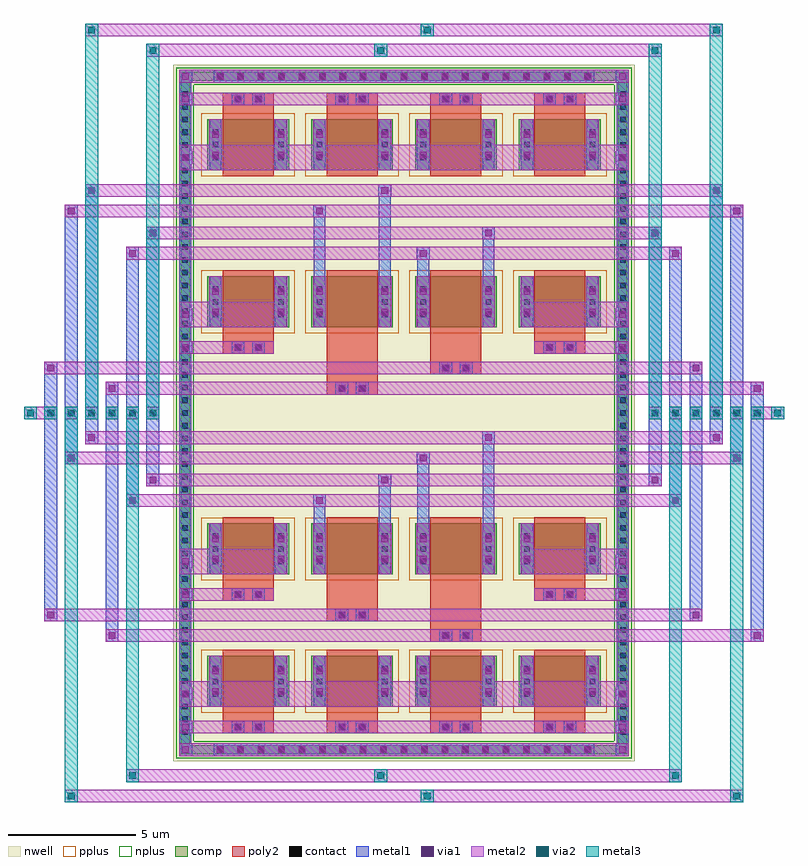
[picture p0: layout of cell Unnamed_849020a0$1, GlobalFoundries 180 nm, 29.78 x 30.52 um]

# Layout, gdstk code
import gdstk
lib = gdstk.Library(unit=1e-6, precision=5e-09)
def R(c, l, rs):  # rectangles x0, y0, x1, y1
    for r in rs: c.add(gdstk.rectangle(r[:2], r[2:], *l))
def A(c, l, x, y, w, h, nx, ny, dx, dy):  # array of equal rectangles
    R(c, l, [(x+i*dx, y+j*dy, x+i*dx+w, y+j*dy+h) for i in range(nx) for j in range(ny)])
def P(c, l, *ps):  # polygons
    for p in ps: c.add(gdstk.Polygon(p, *l))
nwell = (21, 0)
comp = (22, 0)
poly2 = (30, 0)
pplus = (31, 0)
nplus = (32, 0)
contact = (33, 0)
metal1 = (34, 0)
via1 = (35, 0)
metal2 = (36, 0)
via2 = (38, 0)
metal3 = (42, 0)

unnamed_849020a0_1 = lib.new_cell('Unnamed_849020a0$1')
R(unnamed_849020a0_1, nwell, [(-9.035,-13.655,9.035,13.655)])
A(unnamed_849020a0_1, comp, -7.38, -13.375, 0.36, 0.36, 19, 2, 0.8, 26.39)
A(unnamed_849020a0_1, comp, -8.755, -12.68, 0.36, 0.36, 1, 51, 0, 0.5)
A(unnamed_849020a0_1, comp, 8.395, -12.68, 0.36, 0.36, 1, 51, 0, 0.5)
A(unnamed_849020a0_1, comp, -7.705, -11.515, 3.2, 2, 4, 2, 4.07, 5.19)
A(unnamed_849020a0_1, comp, -7.705, 3.355, 3.2, 2, 4, 2, 4.07, 6.16)
R(unnamed_849020a0_1, comp, [(-7.38,-13.375,7.38,-13.015), (-8.755,-12.68,-8.395,12.68), (8.395,-12.68,8.755,12.68), (-7.38,13.015,7.38,13.375)])
P(unnamed_849020a0_1, comp, [(8.755,13.375),(-8.755,13.375),(-8.755,-13.015),(-8.395,-13.015),(-8.395,13.015),(8.395,13.015),(8.395,-13.015),(-8.395,-13.015),(-8.755,-13.015),(-8.755,-13.375),(8.755,-13.375)])
A(unnamed_849020a0_1, poly2, -7.105, -12.555, 2, 0.5, 4, 2, 4.07, 24.61)
A(unnamed_849020a0_1, poly2, -7.105, -12.055, 2, 0.3, 4, 2, 4.07, 23.81)
A(unnamed_849020a0_1, poly2, -7.105, -11.755, 2, 2.48, 4, 2, 4.07, 5.19)
A(unnamed_849020a0_1, poly2, -7.105, 3.115, 2, 2.48, 4, 2, 4.07, 6.16)
R(unnamed_849020a0_1, poly2, [(-6.685,-12.485,-6.325,-12.125), (-5.885,-12.485,-5.525,-12.125), (-2.615,-12.485,-2.255,-12.125), (-1.815,-12.485,-1.455,-12.125), (1.455,-12.485,1.815,-12.125), (2.255,-12.485,2.615,-12.125), (5.525,-12.485,5.885,-12.125), (6.325,-12.485,6.685,-12.125), (1.035,-8.965,3.035,-8.465), (1.455,-8.895,1.815,-8.535), (2.255,-8.895,2.615,-8.535), (1.035,-8.465,3.035,-6.565), (-3.035,-8.165,-1.035,-7.665), (-2.615,-8.095,-2.255,-7.735), (-1.815,-8.095,-1.455,-7.735), (-3.035,-7.665,-1.035,-6.565), (-7.105,-7.365,-5.105,-6.865), (5.105,-7.365,7.105,-6.865), (-6.685,-7.295,-6.325,-6.935), (-5.885,-7.295,-5.525,-6.935), (5.525,-7.295,5.885,-6.935), (6.325,-7.295,6.685,-6.935), (-7.105,-6.865,-5.105,-6.565), (5.105,-6.865,7.105,-6.565), (-3.035,0.715,-1.035,1.215), (-2.615,0.785,-2.255,1.145), (-1.815,0.785,-1.455,1.145), (-3.035,1.215,-1.035,3.115), (1.035,1.515,3.035,2.015), (1.455,1.585,1.815,1.945), (2.255,1.585,2.615,1.945), (1.035,2.015,3.035,3.115), (-7.105,2.315,-5.105,2.815), (5.105,2.315,7.105,2.815), (-6.685,2.385,-6.325,2.745), (-5.885,2.385,-5.525,2.745), (5.525,2.385,5.885,2.745), (6.325,2.385,6.685,2.745), (-7.105,2.815,-5.105,3.115), (5.105,2.815,7.105,3.115), (-6.685,12.125,-6.325,12.485), (-5.885,12.125,-5.525,12.485), (-2.615,12.125,-2.255,12.485), (-1.815,12.125,-1.455,12.485), (1.455,12.125,1.815,12.485), (2.255,12.125,2.615,12.485), (5.525,12.125,5.885,12.485), (6.325,12.125,6.685,12.485)])
A(unnamed_849020a0_1, pplus, -7.935, -11.745, 3.66, 2.46, 4, 2, 4.07, 5.19)
A(unnamed_849020a0_1, pplus, -7.935, 3.125, 3.66, 2.46, 4, 2, 4.07, 6.16)
P(unnamed_849020a0_1, nplus, [(8.915,13.535),(-8.915,13.535),(-8.915,-12.855),(-8.235,-12.855),(-8.235,12.855),(8.235,12.855),(8.235,-12.855),(-8.235,-12.855),(-8.915,-12.855),(-8.915,-13.535),(8.915,-13.535)])
A(unnamed_849020a0_1, contact, -7.31, -13.305, 0.22, 0.22, 19, 2, 0.8, 26.39)
A(unnamed_849020a0_1, contact, -8.685, -12.61, 0.22, 0.22, 1, 51, 0, 0.5)
A(unnamed_849020a0_1, contact, 8.465, -12.61, 0.22, 0.22, 1, 51, 0, 0.5)
A(unnamed_849020a0_1, contact, -7.495, -11.125, 0.22, 0.22, 1, 3, 0, 0.5)
A(unnamed_849020a0_1, contact, -4.935, -11.125, 0.22, 0.22, 1, 3, 0, 0.5)
A(unnamed_849020a0_1, contact, -3.425, -11.125, 0.22, 0.22, 1, 3, 0, 0.5)
A(unnamed_849020a0_1, contact, -0.865, -11.125, 0.22, 0.22, 1, 3, 0, 0.5)
A(unnamed_849020a0_1, contact, 0.645, -11.125, 0.22, 0.22, 1, 3, 0, 0.5)
A(unnamed_849020a0_1, contact, 3.205, -11.125, 0.22, 0.22, 1, 3, 0, 0.5)
A(unnamed_849020a0_1, contact, 4.715, -11.125, 0.22, 0.22, 1, 3, 0, 0.5)
A(unnamed_849020a0_1, contact, 7.275, -11.125, 0.22, 0.22, 1, 3, 0, 0.5)
A(unnamed_849020a0_1, contact, -7.495, -5.935, 0.22, 0.22, 1, 3, 0, 0.5)
A(unnamed_849020a0_1, contact, -4.935, -5.935, 0.22, 0.22, 1, 3, 0, 0.5)
A(unnamed_849020a0_1, contact, -3.425, -5.935, 0.22, 0.22, 1, 3, 0, 0.5)
A(unnamed_849020a0_1, contact, -0.865, -5.935, 0.22, 0.22, 1, 3, 0, 0.5)
A(unnamed_849020a0_1, contact, 0.645, -5.935, 0.22, 0.22, 1, 3, 0, 0.5)
A(unnamed_849020a0_1, contact, 3.205, -5.935, 0.22, 0.22, 1, 3, 0, 0.5)
A(unnamed_849020a0_1, contact, 4.715, -5.935, 0.22, 0.22, 1, 3, 0, 0.5)
A(unnamed_849020a0_1, contact, 7.275, -5.935, 0.22, 0.22, 1, 3, 0, 0.5)
A(unnamed_849020a0_1, contact, -7.495, 3.745, 0.22, 0.22, 1, 3, 0, 0.5)
A(unnamed_849020a0_1, contact, -4.935, 3.745, 0.22, 0.22, 1, 3, 0, 0.5)
A(unnamed_849020a0_1, contact, -3.425, 3.745, 0.22, 0.22, 1, 3, 0, 0.5)
A(unnamed_849020a0_1, contact, -0.865, 3.745, 0.22, 0.22, 1, 3, 0, 0.5)
A(unnamed_849020a0_1, contact, 0.645, 3.745, 0.22, 0.22, 1, 3, 0, 0.5)
A(unnamed_849020a0_1, contact, 3.205, 3.745, 0.22, 0.22, 1, 3, 0, 0.5)
A(unnamed_849020a0_1, contact, 4.715, 3.745, 0.22, 0.22, 1, 3, 0, 0.5)
A(unnamed_849020a0_1, contact, 7.275, 3.745, 0.22, 0.22, 1, 3, 0, 0.5)
A(unnamed_849020a0_1, contact, -7.495, 9.905, 0.22, 0.22, 1, 3, 0, 0.5)
A(unnamed_849020a0_1, contact, -4.935, 9.905, 0.22, 0.22, 1, 3, 0, 0.5)
A(unnamed_849020a0_1, contact, -3.425, 9.905, 0.22, 0.22, 1, 3, 0, 0.5)
A(unnamed_849020a0_1, contact, -0.865, 9.905, 0.22, 0.22, 1, 3, 0, 0.5)
A(unnamed_849020a0_1, contact, 0.645, 9.905, 0.22, 0.22, 1, 3, 0, 0.5)
A(unnamed_849020a0_1, contact, 3.205, 9.905, 0.22, 0.22, 1, 3, 0, 0.5)
A(unnamed_849020a0_1, contact, 4.715, 9.905, 0.22, 0.22, 1, 3, 0, 0.5)
A(unnamed_849020a0_1, contact, 7.275, 9.905, 0.22, 0.22, 1, 3, 0, 0.5)
R(unnamed_849020a0_1, contact, [(-6.615,-12.415,-6.395,-12.195), (-5.815,-12.415,-5.595,-12.195), (-2.545,-12.415,-2.325,-12.195), (-1.745,-12.415,-1.525,-12.195), (1.525,-12.415,1.745,-12.195), (2.325,-12.415,2.545,-12.195), (5.595,-12.415,5.815,-12.195), (6.395,-12.415,6.615,-12.195), (1.525,-8.825,1.745,-8.605), (2.325,-8.825,2.545,-8.605), (-2.545,-8.025,-2.325,-7.805), (-1.745,-8.025,-1.525,-7.805), (-6.615,-7.225,-6.395,-7.005), (-5.815,-7.225,-5.595,-7.005), (5.595,-7.225,5.815,-7.005), (6.395,-7.225,6.615,-7.005), (-2.545,0.855,-2.325,1.075), (-1.745,0.855,-1.525,1.075), (1.525,1.655,1.745,1.875), (2.325,1.655,2.545,1.875), (-6.615,2.455,-6.395,2.675), (-5.815,2.455,-5.595,2.675), (5.595,2.455,5.815,2.675), (6.395,2.455,6.615,2.675), (-6.615,12.195,-6.395,12.415), (-5.815,12.195,-5.595,12.415), (-2.545,12.195,-2.325,12.415), (-1.745,12.195,-1.525,12.415), (1.525,12.195,1.745,12.415), (2.325,12.195,2.545,12.415), (5.595,12.195,5.815,12.415), (6.395,12.195,6.615,12.415)])
A(unnamed_849020a0_1, metal1, -7.45, -13.445, 0.5, 0.5, 19, 2, 0.8, 26.39)
A(unnamed_849020a0_1, metal1, -8.805, -12.73, 0.46, 0.46, 1, 51, 0, 0.5)
A(unnamed_849020a0_1, metal1, 8.345, -12.73, 0.46, 0.46, 1, 51, 0, 0.5)
A(unnamed_849020a0_1, metal1, -7.615, -11.245, 0.46, 0.46, 1, 3, 0, 0.5)
A(unnamed_849020a0_1, metal1, -5.055, -11.245, 0.46, 0.46, 1, 3, 0, 0.5)
A(unnamed_849020a0_1, metal1, -3.545, -11.245, 0.46, 0.46, 1, 3, 0, 0.5)
A(unnamed_849020a0_1, metal1, -0.985, -11.245, 0.46, 0.46, 1, 3, 0, 0.5)
A(unnamed_849020a0_1, metal1, 0.525, -11.245, 0.46, 0.46, 1, 3, 0, 0.5)
A(unnamed_849020a0_1, metal1, 3.085, -11.245, 0.46, 0.46, 1, 3, 0, 0.5)
A(unnamed_849020a0_1, metal1, 4.595, -11.245, 0.46, 0.46, 1, 3, 0, 0.5)
A(unnamed_849020a0_1, metal1, 7.155, -11.245, 0.46, 0.46, 1, 3, 0, 0.5)
A(unnamed_849020a0_1, metal1, -7.615, -6.055, 0.46, 0.46, 1, 3, 0, 0.5)
A(unnamed_849020a0_1, metal1, -5.055, -6.055, 0.46, 0.46, 1, 3, 0, 0.5)
A(unnamed_849020a0_1, metal1, -3.545, -6.055, 0.46, 0.46, 1, 3, 0, 0.5)
A(unnamed_849020a0_1, metal1, -0.985, -6.055, 0.46, 0.46, 1, 3, 0, 0.5)
A(unnamed_849020a0_1, metal1, 0.525, -6.055, 0.46, 0.46, 1, 3, 0, 0.5)
A(unnamed_849020a0_1, metal1, 3.085, -6.055, 0.46, 0.46, 1, 3, 0, 0.5)
A(unnamed_849020a0_1, metal1, 4.595, -6.055, 0.46, 0.46, 1, 3, 0, 0.5)
A(unnamed_849020a0_1, metal1, 7.155, -6.055, 0.46, 0.46, 1, 3, 0, 0.5)
A(unnamed_849020a0_1, metal1, -14.09, -0.25, 0.5, 0.5, 6, 1, 0.8, 0)
A(unnamed_849020a0_1, metal1, 9.59, -0.25, 0.5, 0.5, 6, 1, 0.8, 0)
A(unnamed_849020a0_1, metal1, -7.615, 3.625, 0.46, 0.46, 1, 3, 0, 0.5)
A(unnamed_849020a0_1, metal1, -5.055, 3.625, 0.46, 0.46, 1, 3, 0, 0.5)
A(unnamed_849020a0_1, metal1, -3.545, 3.625, 0.46, 0.46, 1, 3, 0, 0.5)
A(unnamed_849020a0_1, metal1, -0.985, 3.625, 0.46, 0.46, 1, 3, 0, 0.5)
A(unnamed_849020a0_1, metal1, 0.525, 3.625, 0.46, 0.46, 1, 3, 0, 0.5)
A(unnamed_849020a0_1, metal1, 3.085, 3.625, 0.46, 0.46, 1, 3, 0, 0.5)
A(unnamed_849020a0_1, metal1, 4.595, 3.625, 0.46, 0.46, 1, 3, 0, 0.5)
A(unnamed_849020a0_1, metal1, 7.155, 3.625, 0.46, 0.46, 1, 3, 0, 0.5)
A(unnamed_849020a0_1, metal1, -7.615, 9.785, 0.46, 0.46, 1, 3, 0, 0.5)
A(unnamed_849020a0_1, metal1, -5.055, 9.785, 0.46, 0.46, 1, 3, 0, 0.5)
A(unnamed_849020a0_1, metal1, -3.545, 9.785, 0.46, 0.46, 1, 3, 0, 0.5)
A(unnamed_849020a0_1, metal1, -0.985, 9.785, 0.46, 0.46, 1, 3, 0, 0.5)
A(unnamed_849020a0_1, metal1, 0.525, 9.785, 0.46, 0.46, 1, 3, 0, 0.5)
A(unnamed_849020a0_1, metal1, 3.085, 9.785, 0.46, 0.46, 1, 3, 0, 0.5)
A(unnamed_849020a0_1, metal1, 4.595, 9.785, 0.46, 0.46, 1, 3, 0, 0.5)
A(unnamed_849020a0_1, metal1, 7.155, 9.785, 0.46, 0.46, 1, 3, 0, 0.5)
R(unnamed_849020a0_1, metal1, [(-8.805,-13.445,-8.305,-12.945), (-8.805,-13.445,-8.305,-12.945), (-8.805,-13.445,-8.345,-13.015), (-7.45,-13.445,7.45,-12.945), (8.305,-13.445,8.805,-12.945), (8.305,-13.445,8.805,-12.945), (8.345,-13.445,8.805,-13.015), (-8.805,-13.015,-8.345,13.015), (8.345,-13.015,8.805,13.015), (-8.805,-12.555,-8.305,-12.055), (-6.755,-12.555,-6.255,-12.055), (-5.955,-12.555,-5.455,-12.055), (-2.685,-12.555,-2.185,-12.055), (-1.885,-12.555,-1.385,-12.055), (1.385,-12.555,1.885,-12.055), (2.185,-12.555,2.685,-12.055), (5.455,-12.555,5.955,-12.055), (6.255,-12.555,6.755,-12.055), (8.305,-12.555,8.805,-12.055), (-7.615,-11.515,-7.155,-9.515), (-5.055,-11.515,-4.595,-9.515), (-3.545,-11.515,-3.085,-9.515), (-0.985,-11.515,-0.525,-9.515), (0.525,-11.515,0.985,-9.515), (3.085,-11.515,3.545,-9.515), (4.595,-11.515,5.055,-9.515), (7.155,-11.515,7.615,-9.515), (-8.805,-11.265,-8.305,-10.765), (8.305,-11.265,8.805,-10.765), (-7.635,-11.165,-7.135,-10.665), (-7.635,-11.165,-7.135,-9.865), (-5.075,-11.165,-4.575,-10.665), (-5.075,-11.165,-4.575,-9.865), (-3.565,-11.165,-3.065,-10.665), (-3.565,-11.165,-3.065,-9.865), (-1.005,-11.165,-0.505,-10.665), (-1.005,-11.165,-0.505,-9.865), (0.505,-11.165,1.005,-10.665), (0.505,-11.165,1.005,-9.865), (3.065,-11.165,3.565,-10.665), (3.065,-11.165,3.565,-9.865), (4.575,-11.165,5.075,-10.665), (4.575,-11.165,5.075,-9.865), (7.135,-11.165,7.635,-10.665), (7.135,-11.165,7.635,-9.865), (-7.635,-10.365,-7.135,-9.865), (-5.075,-10.365,-4.575,-9.865), (-3.565,-10.365,-3.065,-9.865), (-1.005,-10.365,-0.505,-9.865), (0.505,-10.365,1.005,-9.865), (3.065,-10.365,3.565,-9.865), (4.575,-10.365,5.075,-9.865), (7.135,-10.365,7.635,-9.865), (-11.69,-8.965,-11.19,-8.465), (-11.69,-8.965,-11.19,-8.465), (-11.69,-8.965,-11.19,0.25), (1.385,-8.965,1.885,-8.465), (2.185,-8.965,2.685,-8.465), (13.59,-8.965,14.09,-8.465), (13.59,-8.965,14.09,-8.465), (13.59,-8.965,14.09,0.25), (-14.09,-8.165,-13.59,-7.665), (-14.09,-8.165,-13.59,-7.665), (-14.09,-8.165,-13.59,0.25), (-2.685,-8.165,-2.185,-7.665), (-1.885,-8.165,-1.385,-7.665), (11.19,-8.165,11.69,-7.665), (11.19,-8.165,11.69,-7.665), (11.19,-8.165,11.69,0.25), (-8.805,-7.365,-8.305,-6.865), (-6.755,-7.365,-6.255,-6.865), (-5.955,-7.365,-5.455,-6.865), (5.455,-7.365,5.955,-6.865), (6.255,-7.365,6.755,-6.865), (8.305,-7.365,8.805,-6.865), (-7.615,-6.325,-7.155,-4.325), (-5.055,-6.325,-4.595,-4.325), (-3.545,-6.325,-3.085,-4.325), (-0.985,-6.325,-0.525,-4.325), (0.525,-6.325,0.985,-4.325), (3.085,-6.325,3.545,-4.325), (4.595,-6.325,5.055,-4.325), (7.155,-6.325,7.615,-4.325), (-8.805,-6.075,-8.305,-5.575), (8.305,-6.075,8.805,-5.575), (-7.635,-5.975,-7.135,-5.475), (-7.635,-5.975,-7.135,-4.675), (-5.075,-5.975,-4.575,-5.475), (-5.075,-5.975,-4.575,-4.675), (-3.565,-5.975,-3.065,-5.475), (-3.565,-5.975,-3.065,-4.675), (-1.005,-5.975,-0.505,-5.475), (-1.005,-5.975,-0.505,-4.675), (0.505,-5.975,1.005,-5.475), (0.505,-5.975,1.005,-4.675), (3.065,-5.975,3.565,-5.475), (3.065,-5.975,3.565,-4.675), (4.575,-5.975,5.075,-5.475), (4.575,-5.975,5.075,-4.675), (7.135,-5.975,7.635,-5.475), (7.135,-5.975,7.635,-4.675), (-7.635,-5.175,-7.135,-4.675), (-5.075,-5.175,-4.575,-4.675), (-3.565,-5.175,-3.065,-4.675), (-1.005,-5.175,-0.505,-4.675), (0.505,-5.175,1.005,-4.675), (3.065,-5.175,3.565,-4.675), (4.575,-5.175,5.075,-4.675), (7.135,-5.175,7.635,-4.675), (-3.545,-4.325,-3.085,-3.175), (-0.985,-4.325,-0.525,-2.375), (0.525,-4.325,0.985,-1.515), (3.085,-4.325,3.545,-0.715), (-10.89,-3.675,-10.39,-3.175), (-10.89,-3.675,-10.39,-3.175), (-10.89,-3.675,-10.39,0.25), (-3.565,-3.675,-3.065,-3.175), (10.39,-3.675,10.89,-3.175), (10.39,-3.675,10.89,-3.175), (10.39,-3.675,10.89,0.25), (-10.09,-2.875,-9.59,-2.375), (-10.09,-2.875,-9.59,-2.375), (-10.09,-2.875,-9.59,0.25), (-1.005,-2.875,-0.505,-2.375), (9.59,-2.875,10.09,-2.375), (9.59,-2.875,10.09,-2.375), (9.59,-2.875,10.09,0.25), (-13.29,-2.015,-12.79,-1.515), (-13.29,-2.015,-12.79,-1.515), (-13.29,-2.015,-12.79,0.25), (0.505,-2.015,1.005,-1.515), (12.79,-2.015,13.29,-1.515), (12.79,-2.015,13.29,-1.515), (12.79,-2.015,13.29,0.25), (-12.49,-1.215,-11.99,-0.715), (-12.49,-1.215,-11.99,-0.715), (-12.49,-1.215,-11.99,0.25), (3.065,-1.215,3.565,-0.715), (11.99,-1.215,12.49,-0.715), (11.99,-1.215,12.49,-0.715), (11.99,-1.215,12.49,0.25), (-14.09,0.25,-13.59,2.015), (-13.29,0.25,-12.79,8.165), (-12.49,0.25,-11.99,8.965), (-11.69,0.25,-11.19,1.215), (-10.89,0.25,-10.39,6.505), (-10.09,0.25,-9.59,7.305), (9.59,0.25,10.09,7.305), (10.39,0.25,10.89,6.505), (11.19,0.25,11.69,2.015), (11.99,0.25,12.49,8.965), (12.79,0.25,13.29,8.165), (13.59,0.25,14.09,1.215), (-11.69,0.715,-11.19,1.215), (-11.69,0.715,-11.19,1.215), (-2.685,0.715,-2.185,1.215), (-1.885,0.715,-1.385,1.215), (13.59,0.715,14.09,1.215), (13.59,0.715,14.09,1.215), (-14.09,1.515,-13.59,2.015), (-14.09,1.515,-13.59,2.015), (1.385,1.515,1.885,2.015), (2.185,1.515,2.685,2.015), (11.19,1.515,11.69,2.015), (11.19,1.515,11.69,2.015), (-8.805,2.315,-8.305,2.815), (-6.755,2.315,-6.255,2.815), (-5.955,2.315,-5.455,2.815), (5.455,2.315,5.955,2.815), (6.255,2.315,6.755,2.815), (8.305,2.315,8.805,2.815), (-7.615,3.355,-7.155,5.355), (-5.055,3.355,-4.595,5.355), (-3.545,3.355,-3.085,5.355), (-0.985,3.355,-0.525,5.355), (0.525,3.355,0.985,5.355), (3.085,3.355,3.545,5.355), (4.595,3.355,5.055,5.355), (7.155,3.355,7.615,5.355), (-8.805,3.605,-8.305,4.105), (8.305,3.605,8.805,4.105), (-7.635,3.705,-7.135,4.205), (-7.635,3.705,-7.135,5.005), (-5.075,3.705,-4.575,4.205), (-5.075,3.705,-4.575,5.005), (-3.565,3.705,-3.065,4.205), (-3.565,3.705,-3.065,5.005), (-1.005,3.705,-0.505,4.205), (-1.005,3.705,-0.505,5.005), (0.505,3.705,1.005,4.205), (0.505,3.705,1.005,5.005), (3.065,3.705,3.565,4.205), (3.065,3.705,3.565,5.005), (4.575,3.705,5.075,4.205), (4.575,3.705,5.075,5.005), (7.135,3.705,7.635,4.205), (7.135,3.705,7.635,5.005), (-7.635,4.505,-7.135,5.005), (-5.075,4.505,-4.575,5.005), (-3.565,4.505,-3.065,5.005), (-1.005,4.505,-0.505,5.005), (0.505,4.505,1.005,5.005), (3.065,4.505,3.565,5.005), (4.575,4.505,5.075,5.005), (7.135,4.505,7.635,5.005), (-3.545,5.355,-3.085,8.165), (-0.985,5.355,-0.525,8.965), (0.525,5.355,0.985,6.505), (3.085,5.355,3.545,7.305), (-10.89,6.005,-10.39,6.505), (-10.89,6.005,-10.39,6.505), (0.505,6.005,1.005,6.505), (10.39,6.005,10.89,6.505), (10.39,6.005,10.89,6.505), (-10.09,6.805,-9.59,7.305), (-10.09,6.805,-9.59,7.305), (3.065,6.805,3.565,7.305), (9.59,6.805,10.09,7.305), (9.59,6.805,10.09,7.305), (-13.29,7.665,-12.79,8.165), (-13.29,7.665,-12.79,8.165), (-3.565,7.665,-3.065,8.165), (12.79,7.665,13.29,8.165), (12.79,7.665,13.29,8.165), (-12.49,8.465,-11.99,8.965), (-12.49,8.465,-11.99,8.965), (-1.005,8.465,-0.505,8.965), (11.99,8.465,12.49,8.965), (11.99,8.465,12.49,8.965), (-7.615,9.515,-7.155,11.515), (-5.055,9.515,-4.595,11.515), (-3.545,9.515,-3.085,11.515), (-0.985,9.515,-0.525,11.515), (0.525,9.515,0.985,11.515), (3.085,9.515,3.545,11.515), (4.595,9.515,5.055,11.515), (7.155,9.515,7.615,11.515), (-8.805,9.765,-8.305,10.265), (8.305,9.765,8.805,10.265), (-7.635,9.865,-7.135,10.365), (-7.635,9.865,-7.135,11.165), (-5.075,9.865,-4.575,10.365), (-5.075,9.865,-4.575,11.165), (-3.565,9.865,-3.065,10.365), (-3.565,9.865,-3.065,11.165), (-1.005,9.865,-0.505,10.365), (-1.005,9.865,-0.505,11.165), (0.505,9.865,1.005,10.365), (0.505,9.865,1.005,11.165), (3.065,9.865,3.565,10.365), (3.065,9.865,3.565,11.165), (4.575,9.865,5.075,10.365), (4.575,9.865,5.075,11.165), (7.135,9.865,7.635,10.365), (7.135,9.865,7.635,11.165), (-7.635,10.665,-7.135,11.165), (-5.075,10.665,-4.575,11.165), (-3.565,10.665,-3.065,11.165), (-1.005,10.665,-0.505,11.165), (0.505,10.665,1.005,11.165), (3.065,10.665,3.565,11.165), (4.575,10.665,5.075,11.165), (7.135,10.665,7.635,11.165), (-8.805,12.055,-8.305,12.555), (-6.755,12.055,-6.255,12.555), (-5.955,12.055,-5.455,12.555), (-2.685,12.055,-2.185,12.555), (-1.885,12.055,-1.385,12.555), (1.385,12.055,1.885,12.555), (2.185,12.055,2.685,12.555), (5.455,12.055,5.955,12.555), (6.255,12.055,6.755,12.555), (8.305,12.055,8.805,12.555), (-8.805,12.945,-8.305,13.445), (-8.805,12.945,-8.305,13.445), (-7.45,12.945,7.45,13.445), (8.305,12.945,8.805,13.445), (8.305,12.945,8.805,13.445), (-8.805,13.015,-8.345,13.445), (8.345,13.015,8.805,13.445)])
A(unnamed_849020a0_1, via1, -7.33, -13.325, 0.26, 0.26, 19, 2, 0.8, 26.39)
A(unnamed_849020a0_1, via1, -13.97, -0.13, 0.26, 0.26, 6, 1, 0.8, 0)
A(unnamed_849020a0_1, via1, 9.71, -0.13, 0.26, 0.26, 6, 1, 0.8, 0)
R(unnamed_849020a0_1, via1, [(-8.685,-13.325,-8.425,-13.065), (8.425,-13.325,8.685,-13.065), (-8.685,-12.435,-8.425,-12.175), (-6.635,-12.435,-6.375,-12.175), (-5.835,-12.435,-5.575,-12.175), (-2.565,-12.435,-2.305,-12.175), (-1.765,-12.435,-1.505,-12.175), (1.505,-12.435,1.765,-12.175), (2.305,-12.435,2.565,-12.175), (5.575,-12.435,5.835,-12.175), (6.375,-12.435,6.635,-12.175), (8.425,-12.435,8.685,-12.175), (-8.685,-11.145,-8.425,-10.885), (8.425,-11.145,8.685,-10.885), (-7.515,-11.045,-7.255,-10.785), (-4.955,-11.045,-4.695,-10.785), (-3.445,-11.045,-3.185,-10.785), (-0.885,-11.045,-0.625,-10.785), (0.625,-11.045,0.885,-10.785), (3.185,-11.045,3.445,-10.785), (4.695,-11.045,4.955,-10.785), (7.255,-11.045,7.515,-10.785), (-7.515,-10.245,-7.255,-9.985), (-4.955,-10.245,-4.695,-9.985), (-3.445,-10.245,-3.185,-9.985), (-0.885,-10.245,-0.625,-9.985), (0.625,-10.245,0.885,-9.985), (3.185,-10.245,3.445,-9.985), (4.695,-10.245,4.955,-9.985), (7.255,-10.245,7.515,-9.985), (-11.57,-8.845,-11.31,-8.585), (1.505,-8.845,1.765,-8.585), (2.305,-8.845,2.565,-8.585), (13.71,-8.845,13.97,-8.585), (-13.97,-8.045,-13.71,-7.785), (-2.565,-8.045,-2.305,-7.785), (-1.765,-8.045,-1.505,-7.785), (11.31,-8.045,11.57,-7.785), (-8.685,-7.245,-8.425,-6.985), (-6.635,-7.245,-6.375,-6.985), (-5.835,-7.245,-5.575,-6.985), (5.575,-7.245,5.835,-6.985), (6.375,-7.245,6.635,-6.985), (8.425,-7.245,8.685,-6.985), (-8.685,-5.955,-8.425,-5.695), (8.425,-5.955,8.685,-5.695), (-7.515,-5.855,-7.255,-5.595), (-4.955,-5.855,-4.695,-5.595), (-3.445,-5.855,-3.185,-5.595), (-0.885,-5.855,-0.625,-5.595), (0.625,-5.855,0.885,-5.595), (3.185,-5.855,3.445,-5.595), (4.695,-5.855,4.955,-5.595), (7.255,-5.855,7.515,-5.595), (-7.515,-5.055,-7.255,-4.795), (-4.955,-5.055,-4.695,-4.795), (-3.445,-5.055,-3.185,-4.795), (-0.885,-5.055,-0.625,-4.795), (0.625,-5.055,0.885,-4.795), (3.185,-5.055,3.445,-4.795), (4.695,-5.055,4.955,-4.795), (7.255,-5.055,7.515,-4.795), (-10.77,-3.555,-10.51,-3.295), (-3.445,-3.555,-3.185,-3.295), (10.51,-3.555,10.77,-3.295), (-9.97,-2.755,-9.71,-2.495), (-0.885,-2.755,-0.625,-2.495), (9.71,-2.755,9.97,-2.495), (-13.17,-1.895,-12.91,-1.635), (0.625,-1.895,0.885,-1.635), (12.91,-1.895,13.17,-1.635), (-12.37,-1.095,-12.11,-0.835), (3.185,-1.095,3.445,-0.835), (12.11,-1.095,12.37,-0.835), (-11.57,0.835,-11.31,1.095), (-2.565,0.835,-2.305,1.095), (-1.765,0.835,-1.505,1.095), (13.71,0.835,13.97,1.095), (-13.97,1.635,-13.71,1.895), (1.505,1.635,1.765,1.895), (2.305,1.635,2.565,1.895), (11.31,1.635,11.57,1.895), (-8.685,2.435,-8.425,2.695), (-6.635,2.435,-6.375,2.695), (-5.835,2.435,-5.575,2.695), (5.575,2.435,5.835,2.695), (6.375,2.435,6.635,2.695), (8.425,2.435,8.685,2.695), (-8.685,3.725,-8.425,3.985), (8.425,3.725,8.685,3.985), (-7.515,3.825,-7.255,4.085), (-4.955,3.825,-4.695,4.085), (-3.445,3.825,-3.185,4.085), (-0.885,3.825,-0.625,4.085), (0.625,3.825,0.885,4.085), (3.185,3.825,3.445,4.085), (4.695,3.825,4.955,4.085), (7.255,3.825,7.515,4.085), (-7.515,4.625,-7.255,4.885), (-4.955,4.625,-4.695,4.885), (-3.445,4.625,-3.185,4.885), (-0.885,4.625,-0.625,4.885), (0.625,4.625,0.885,4.885), (3.185,4.625,3.445,4.885), (4.695,4.625,4.955,4.885), (7.255,4.625,7.515,4.885), (-10.77,6.125,-10.51,6.385), (0.625,6.125,0.885,6.385), (10.51,6.125,10.77,6.385), (-9.97,6.925,-9.71,7.185), (3.185,6.925,3.445,7.185), (9.71,6.925,9.97,7.185), (-13.17,7.785,-12.91,8.045), (-3.445,7.785,-3.185,8.045), (12.91,7.785,13.17,8.045), (-12.37,8.585,-12.11,8.845), (-0.885,8.585,-0.625,8.845), (12.11,8.585,12.37,8.845), (-8.685,9.885,-8.425,10.145), (8.425,9.885,8.685,10.145), (-7.515,9.985,-7.255,10.245), (-4.955,9.985,-4.695,10.245), (-3.445,9.985,-3.185,10.245), (-0.885,9.985,-0.625,10.245), (0.625,9.985,0.885,10.245), (3.185,9.985,3.445,10.245), (4.695,9.985,4.955,10.245), (7.255,9.985,7.515,10.245), (-7.515,10.785,-7.255,11.045), (-4.955,10.785,-4.695,11.045), (-3.445,10.785,-3.185,11.045), (-0.885,10.785,-0.625,11.045), (0.625,10.785,0.885,11.045), (3.185,10.785,3.445,11.045), (4.695,10.785,4.955,11.045), (7.255,10.785,7.515,11.045), (-8.685,12.175,-8.425,12.435), (-6.635,12.175,-6.375,12.435), (-5.835,12.175,-5.575,12.435), (-2.565,12.175,-2.305,12.435), (-1.765,12.175,-1.505,12.435), (1.505,12.175,1.765,12.435), (2.305,12.175,2.565,12.435), (5.575,12.175,5.835,12.435), (6.375,12.175,6.635,12.435), (8.425,12.175,8.685,12.435), (-8.685,13.065,-8.425,13.325), (8.425,13.065,8.685,13.325)])
A(unnamed_849020a0_1, metal2, -7.45, -13.445, 0.5, 0.5, 19, 2, 0.8, 26.39)
A(unnamed_849020a0_1, metal2, -7.105, -12.555, 2, 0.5, 4, 2, 4.07, 24.61)
R(unnamed_849020a0_1, metal2, [(-13.29,-15.26,-12.79,-14.76), (-13.29,-15.26,-12.79,-14.76), (-13.29,-15.26,0.66,-14.76), (0.66,-15.26,1.16,-14.76), (1.16,-15.26,13.29,-14.76), (12.79,-15.26,13.29,-14.76), (12.79,-15.26,13.29,-14.76), (-10.89,-14.46,-10.39,-13.96), (-10.89,-14.46,-10.39,-13.96), (-10.89,-14.46,-1.16,-13.96), (-1.16,-14.46,-0.66,-13.96), (-0.66,-14.46,10.89,-13.96), (10.39,-14.46,10.89,-13.96), (10.39,-14.46,10.89,-13.96), (-8.805,-13.445,-8.305,-12.945), (-8.805,-13.445,-8.305,-12.945), (-8.805,-13.445,-8.395,-12.945), (-8.395,-13.445,8.395,-12.945), (8.305,-13.445,8.805,-12.945), (8.305,-13.445,8.805,-12.945), (8.395,-13.445,8.805,-12.945), (-8.805,-12.555,-8.305,-12.055), (-8.805,-12.555,7.105,-12.055), (-7.105,-12.555,8.805,-12.055), (-6.755,-12.555,-6.255,-12.055), (-5.955,-12.555,-5.455,-12.055), (-2.685,-12.555,-2.185,-12.055), (-1.885,-12.555,-1.385,-12.055), (1.385,-12.555,1.885,-12.055), (2.185,-12.555,2.685,-12.055), (5.455,-12.555,5.955,-12.055), (6.255,-12.555,6.755,-12.055), (8.305,-12.555,8.805,-12.055), (-8.805,-11.515,-7.155,-10.515), (-7.635,-11.515,-7.135,-9.515), (-7.615,-11.515,8.805,-10.515), (-5.075,-11.515,-4.575,-9.515), (-3.565,-11.515,-3.065,-9.515), (-1.005,-11.515,-0.505,-9.515), (0.505,-11.515,1.005,-9.515), (3.065,-11.515,3.565,-9.515), (4.575,-11.515,5.075,-9.515), (7.135,-11.515,7.635,-9.515), (-8.805,-11.265,-8.305,-10.765), (8.305,-11.265,8.805,-10.765), (-7.635,-11.165,-7.135,-10.665), (-5.075,-11.165,-4.575,-10.665), (-3.565,-11.165,-3.065,-10.665), (-1.005,-11.165,-0.505,-10.665), (0.505,-11.165,1.005,-10.665), (3.065,-11.165,3.565,-10.665), (4.575,-11.165,5.075,-10.665), (7.135,-11.165,7.635,-10.665), (-7.635,-10.365,-7.135,-9.865), (-5.075,-10.365,-4.575,-9.865), (-3.565,-10.365,-3.065,-9.865), (-1.005,-10.365,-0.505,-9.865), (0.505,-10.365,1.005,-9.865), (3.065,-10.365,3.565,-9.865), (4.575,-10.365,5.075,-9.865), (7.135,-10.365,7.635,-9.865), (-11.69,-8.965,-11.19,-8.465), (-11.69,-8.965,-11.19,-8.465), (-11.69,-8.965,1.035,-8.465), (1.035,-8.965,3.035,-8.465), (1.385,-8.965,1.885,-8.465), (2.185,-8.965,2.685,-8.465), (3.035,-8.965,14.09,-8.465), (13.59,-8.965,14.09,-8.465), (13.59,-8.965,14.09,-8.465), (-14.09,-8.165,-13.59,-7.665), (-14.09,-8.165,-13.59,-7.665), (-14.09,-8.165,-3.035,-7.665), (-3.035,-8.165,-1.035,-7.665), (-2.685,-8.165,-2.185,-7.665), (-1.885,-8.165,-1.385,-7.665), (-1.035,-8.165,11.69,-7.665), (11.19,-8.165,11.69,-7.665), (11.19,-8.165,11.69,-7.665), (-8.805,-7.365,-8.305,-6.865), (-8.805,-7.365,-5.105,-6.865), (-7.105,-7.365,-5.105,-6.865), (-6.755,-7.365,-6.255,-6.865), (-5.955,-7.365,-5.455,-6.865), (5.105,-7.365,7.105,-6.865), (5.105,-7.365,8.805,-6.865), (5.455,-7.365,5.955,-6.865), (6.255,-7.365,6.755,-6.865), (8.305,-7.365,8.805,-6.865), (-8.805,-6.325,-4.595,-5.325), (-7.635,-6.325,-7.135,-4.325), (-5.075,-6.325,-4.575,-4.325), (-3.565,-6.325,-3.065,-4.325), (-1.005,-6.325,-0.505,-4.325), (0.505,-6.325,1.005,-4.325), (3.065,-6.325,3.565,-4.325), (4.575,-6.325,5.075,-4.325), (4.595,-6.325,8.805,-5.325), (7.135,-6.325,7.635,-4.325), (-8.805,-6.075,-8.305,-5.575), (8.305,-6.075,8.805,-5.575), (-7.635,-5.975,-7.135,-5.475), (-5.075,-5.975,-4.575,-5.475), (-3.565,-5.975,-3.065,-5.475), (-1.005,-5.975,-0.505,-5.475), (0.505,-5.975,1.005,-5.475), (3.065,-5.975,3.565,-5.475), (4.575,-5.975,5.075,-5.475), (7.135,-5.975,7.635,-5.475), (-7.635,-5.175,-7.135,-4.675), (-5.075,-5.175,-4.575,-4.675), (-3.565,-5.175,-3.065,-4.675), (-1.005,-5.175,-0.505,-4.675), (0.505,-5.175,1.005,-4.675), (3.065,-5.175,3.565,-4.675), (4.575,-5.175,5.075,-4.675), (7.135,-5.175,7.635,-4.675), (-10.89,-3.675,-10.39,-3.175), (-10.89,-3.675,-10.39,-3.175), (-10.89,-3.675,-3.565,-3.175), (-3.565,-3.675,-3.065,-3.175), (-3.565,-3.675,-0.505,-3.175), (-0.505,-3.675,10.89,-3.175), (10.39,-3.675,10.89,-3.175), (10.39,-3.675,10.89,-3.175), (-10.09,-2.875,-9.59,-2.375), (-10.09,-2.875,-9.59,-2.375), (-10.09,-2.875,-3.565,-2.375), (-3.565,-2.875,-0.505,-2.375), (-1.005,-2.875,-0.505,-2.375), (-0.505,-2.875,10.09,-2.375), (9.59,-2.875,10.09,-2.375), (9.59,-2.875,10.09,-2.375), (-13.29,-2.015,-12.79,-1.515), (-13.29,-2.015,-12.79,-1.515), (-13.29,-2.015,0.505,-1.515), (0.505,-2.015,1.005,-1.515), (0.505,-2.015,3.565,-1.515), (3.565,-2.015,13.29,-1.515), (12.79,-2.015,13.29,-1.515), (12.79,-2.015,13.29,-1.515), (-12.49,-1.215,-11.99,-0.715), (-12.49,-1.215,-11.99,-0.715), (-12.49,-1.215,0.505,-0.715), (0.505,-1.215,3.565,-0.715), (3.065,-1.215,3.565,-0.715), (3.565,-1.215,12.49,-0.715), (11.99,-1.215,12.49,-0.715), (11.99,-1.215,12.49,-0.715), (-14.89,-0.25,-14.39,0.25), (-14.39,-0.25,-14.09,0.25), (-14.09,-0.25,-13.59,0.25), (-14.09,-0.25,-13.59,0.25), (-13.29,-0.25,-12.79,0.25), (-13.29,-0.25,-12.79,0.25), (-12.49,-0.25,-11.99,0.25), (-12.49,-0.25,-11.99,0.25), (-11.69,-0.25,-11.19,0.25), (-11.69,-0.25,-11.19,0.25), (-10.89,-0.25,-10.39,0.25), (-10.89,-0.25,-10.39,0.25), (-10.09,-0.25,-9.59,0.25), (-10.09,-0.25,-9.59,0.25), (9.59,-0.25,10.09,0.25), (9.59,-0.25,10.09,0.25), (10.39,-0.25,10.89,0.25), (10.39,-0.25,10.89,0.25), (11.19,-0.25,11.69,0.25), (11.19,-0.25,11.69,0.25), (11.99,-0.25,12.49,0.25), (11.99,-0.25,12.49,0.25), (12.79,-0.25,13.29,0.25), (12.79,-0.25,13.29,0.25), (13.59,-0.25,14.09,0.25), (13.59,-0.25,14.09,0.25), (14.09,-0.25,14.39,0.25), (14.39,-0.25,14.89,0.25), (-11.69,0.715,-11.19,1.215), (-11.69,0.715,-11.19,1.215), (-11.69,0.715,-3.035,1.215), (-3.035,0.715,-1.035,1.215), (-2.685,0.715,-2.185,1.215), (-1.885,0.715,-1.385,1.215), (-1.035,0.715,14.09,1.215), (13.59,0.715,14.09,1.215), (13.59,0.715,14.09,1.215), (-14.09,1.515,-13.59,2.015), (-14.09,1.515,-13.59,2.015), (-14.09,1.515,1.035,2.015), (1.035,1.515,3.035,2.015), (1.385,1.515,1.885,2.015), (2.185,1.515,2.685,2.015), (3.035,1.515,11.69,2.015), (11.19,1.515,11.69,2.015), (11.19,1.515,11.69,2.015), (-8.805,2.315,-8.305,2.815), (-8.805,2.315,-5.105,2.815), (-7.105,2.315,-5.105,2.815), (-6.755,2.315,-6.255,2.815), (-5.955,2.315,-5.455,2.815), (5.105,2.315,7.105,2.815), (5.105,2.315,8.805,2.815), (5.455,2.315,5.955,2.815), (6.255,2.315,6.755,2.815), (8.305,2.315,8.805,2.815), (-8.805,3.355,-4.595,4.355), (-7.635,3.355,-7.135,5.355), (-5.075,3.355,-4.575,5.355), (-3.565,3.355,-3.065,5.355), (-1.005,3.355,-0.505,5.355), (0.505,3.355,1.005,5.355), (3.065,3.355,3.565,5.355), (4.575,3.355,5.075,5.355), (4.595,3.355,8.805,4.355), (7.135,3.355,7.635,5.355), (-8.805,3.605,-8.305,4.105), (8.305,3.605,8.805,4.105), (-7.635,3.705,-7.135,4.205), (-5.075,3.705,-4.575,4.205), (-3.565,3.705,-3.065,4.205), (-1.005,3.705,-0.505,4.205), (0.505,3.705,1.005,4.205), (3.065,3.705,3.565,4.205), (4.575,3.705,5.075,4.205), (7.135,3.705,7.635,4.205), (-7.635,4.505,-7.135,5.005), (-5.075,4.505,-4.575,5.005), (-3.565,4.505,-3.065,5.005), (-1.005,4.505,-0.505,5.005), (0.505,4.505,1.005,5.005), (3.065,4.505,3.565,5.005), (4.575,4.505,5.075,5.005), (7.135,4.505,7.635,5.005), (-10.89,6.005,-10.39,6.505), (-10.89,6.005,-10.39,6.505), (-10.89,6.005,0.505,6.505), (0.505,6.005,1.005,6.505), (0.505,6.005,3.565,6.505), (3.565,6.005,10.89,6.505), (10.39,6.005,10.89,6.505), (10.39,6.005,10.89,6.505), (-10.09,6.805,-9.59,7.305), (-10.09,6.805,-9.59,7.305), (-10.09,6.805,0.505,7.305), (0.505,6.805,3.565,7.305), (3.065,6.805,3.565,7.305), (3.565,6.805,10.09,7.305), (9.59,6.805,10.09,7.305), (9.59,6.805,10.09,7.305), (-13.29,7.665,-12.79,8.165), (-13.29,7.665,-12.79,8.165), (-13.29,7.665,-3.565,8.165), (-3.565,7.665,-3.065,8.165), (-3.565,7.665,-0.505,8.165), (-0.505,7.665,13.29,8.165), (12.79,7.665,13.29,8.165), (12.79,7.665,13.29,8.165), (-12.49,8.465,-11.99,8.965), (-12.49,8.465,-11.99,8.965), (-12.49,8.465,-3.565,8.965), (-3.565,8.465,-0.505,8.965), (-1.005,8.465,-0.505,8.965), (-0.505,8.465,12.49,8.965), (11.99,8.465,12.49,8.965), (11.99,8.465,12.49,8.965), (-8.805,9.515,-7.155,10.515), (-7.635,9.515,-7.135,11.515), (-7.615,9.515,8.805,10.515), (-5.075,9.515,-4.575,11.515), (-3.565,9.515,-3.065,11.515), (-1.005,9.515,-0.505,11.515), (0.505,9.515,1.005,11.515), (3.065,9.515,3.565,11.515), (4.575,9.515,5.075,11.515), (7.135,9.515,7.635,11.515), (-8.805,9.765,-8.305,10.265), (8.305,9.765,8.805,10.265), (-7.635,9.865,-7.135,10.365), (-5.075,9.865,-4.575,10.365), (-3.565,9.865,-3.065,10.365), (-1.005,9.865,-0.505,10.365), (0.505,9.865,1.005,10.365), (3.065,9.865,3.565,10.365), (4.575,9.865,5.075,10.365), (7.135,9.865,7.635,10.365), (-7.635,10.665,-7.135,11.165), (-5.075,10.665,-4.575,11.165), (-3.565,10.665,-3.065,11.165), (-1.005,10.665,-0.505,11.165), (0.505,10.665,1.005,11.165), (3.065,10.665,3.565,11.165), (4.575,10.665,5.075,11.165), (7.135,10.665,7.635,11.165), (-8.805,12.055,-8.305,12.555), (-8.805,12.055,7.105,12.555), (-7.105,12.055,8.805,12.555), (-6.755,12.055,-6.255,12.555), (-5.955,12.055,-5.455,12.555), (-2.685,12.055,-2.185,12.555), (-1.885,12.055,-1.385,12.555), (1.385,12.055,1.885,12.555), (2.185,12.055,2.685,12.555), (5.455,12.055,5.955,12.555), (6.255,12.055,6.755,12.555), (8.305,12.055,8.805,12.555), (-8.805,12.945,-8.305,13.445), (-8.805,12.945,-8.305,13.445), (-8.805,12.945,-8.395,13.445), (-8.395,12.945,8.395,13.445), (8.305,12.945,8.805,13.445), (8.305,12.945,8.805,13.445), (8.395,12.945,8.805,13.445), (-10.09,13.96,-9.59,14.46), (-10.09,13.96,-9.59,14.46), (-10.09,13.96,-1.16,14.46), (-1.16,13.96,-0.66,14.46), (-0.66,13.96,10.09,14.46), (9.59,13.96,10.09,14.46), (9.59,13.96,10.09,14.46), (-12.49,14.76,-11.99,15.26), (-12.49,14.76,-11.99,15.26), (-12.49,14.76,0.66,15.26), (0.66,14.76,1.16,15.26), (1.16,14.76,12.49,15.26), (11.99,14.76,12.49,15.26), (11.99,14.76,12.49,15.26)])
A(unnamed_849020a0_1, via2, -14.77, -0.13, 0.26, 0.26, 7, 1, 0.8, 0)
A(unnamed_849020a0_1, via2, 9.71, -0.13, 0.26, 0.26, 7, 1, 0.8, 0)
R(unnamed_849020a0_1, via2, [(-13.17,-15.14,-12.91,-14.88), (0.78,-15.14,1.04,-14.88), (12.91,-15.14,13.17,-14.88), (-10.77,-14.34,-10.51,-14.08), (-1.04,-14.34,-0.78,-14.08), (10.51,-14.34,10.77,-14.08), (-9.97,14.08,-9.71,14.34), (-1.04,14.08,-0.78,14.34), (9.71,14.08,9.97,14.34), (-12.37,14.88,-12.11,15.14), (0.78,14.88,1.04,15.14), (12.11,14.88,12.37,15.14)])
A(unnamed_849020a0_1, metal3, -14.89, -0.25, 0.5, 0.5, 7, 1, 0.8, 0)
A(unnamed_849020a0_1, metal3, 9.59, -0.25, 0.5, 0.5, 7, 1, 0.8, 0)
R(unnamed_849020a0_1, metal3, [(-13.29,-15.26,-12.79,-14.76), (-13.29,-15.26,-12.79,-14.76), (-13.29,-15.26,-12.79,-0.25), (0.66,-15.26,1.16,-14.76), (12.79,-15.26,13.29,-14.76), (12.79,-15.26,13.29,-14.76), (12.79,-15.26,13.29,-0.25), (-10.89,-14.46,-10.39,-13.96), (-10.89,-14.46,-10.39,-13.96), (-10.89,-14.46,-10.39,-0.25), (-1.16,-14.46,-0.66,-13.96), (10.39,-14.46,10.89,-13.96), (10.39,-14.46,10.89,-13.96), (10.39,-14.46,10.89,-0.25), (-12.49,0.25,-11.99,15.26), (-10.09,0.25,-9.59,14.46), (9.59,0.25,10.09,14.46), (11.99,0.25,12.49,15.26), (-10.09,13.96,-9.59,14.46), (-10.09,13.96,-9.59,14.46), (-1.16,13.96,-0.66,14.46), (9.59,13.96,10.09,14.46), (9.59,13.96,10.09,14.46), (-12.49,14.76,-11.99,15.26), (-12.49,14.76,-11.99,15.26), (0.66,14.76,1.16,15.26), (11.99,14.76,12.49,15.26), (11.99,14.76,12.49,15.26)])

lib.write_gds('Unnamed_849020a0_1.gds')
